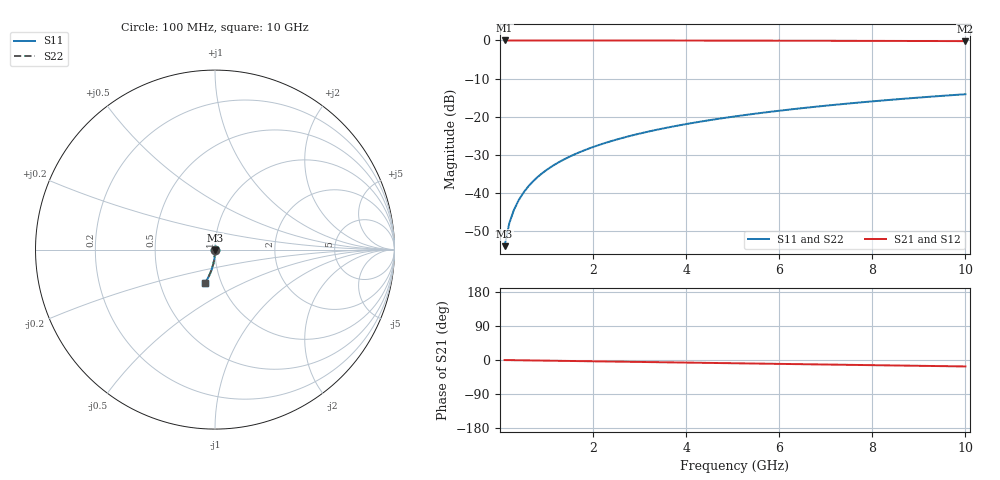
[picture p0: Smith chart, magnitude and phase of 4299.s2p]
# Hz S RI R 50.00
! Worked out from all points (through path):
!   100 points, 100 MHz to 10 GHz, reference 50 ohm
!   highest |S21| = 0.00 dB at 100 MHz (marker M1); lowest = -0.2 dB at 10 GHz (marker M2)
!   group delay of S21, straight-line fit = 4.73 ps
!   lowest |S11| = -53.9 dB at 100 MHz (marker M3), VSWR 1.00, Z = 50 - j0.2 ohm
!   |S11| at or under -10 dB: start of sweep to end of sweep
!   |S22| runs from -53.9 to -14.1 dB; largest |S21 - S12| = 0
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1e8  0.000167 -0.002  0.9998 -0.00297  0.9998 -0.00297  0.000167 -0.002
2e8  0.000148 -0.00401  0.9998 -0.00594  0.9998 -0.00594  0.000148 -0.00401
3e8  0.000117 -0.00601  0.9998 -0.00891  0.9998 -0.00891  0.000117 -0.00601
4e8  7.39e-05 -0.00801  0.9997 -0.0119  0.9997 -0.0119  7.39e-05 -0.00801
5e8  1.85e-05 -0.01  0.9996 -0.0148  0.9996 -0.0148  1.85e-05 -0.01
6e8  -4.87e-05 -0.012  0.9996 -0.0178  0.9996 -0.0178  -4.87e-05 -0.012
7e8  -0.000128 -0.014  0.9995 -0.0208  0.9995 -0.0208  -0.000128 -0.014
8e8  -0.000219 -0.016  0.9994 -0.0237  0.9994 -0.0237  -0.000219 -0.016
9e8  -0.000322 -0.018  0.9993 -0.0267  0.9993 -0.0267  -0.000322 -0.018
1.1e9  -0.000564 -0.022  0.999 -0.0327  0.999 -0.0327  -0.000564 -0.022
1.4e9  -0.00102 -0.028  0.9985 -0.0416  0.9985 -0.0416  -0.00102 -0.028
1.8e9  -0.00179 -0.036  0.9977 -0.0534  0.9977 -0.0534  -0.00179 -0.036
2.1e9  -0.00249 -0.042  0.9969 -0.0623  0.9969 -0.0623  -0.00249 -0.042
2.5e9  -0.00359 -0.05  0.9957 -0.0741  0.9957 -0.0741  -0.00359 -0.05
2.9e9  -0.00489 -0.0579  0.9943 -0.0859  0.9943 -0.0859  -0.00489 -0.0579
3.4e9  -0.00677 -0.0678  0.9923 -0.1007  0.9923 -0.1007  -0.00677 -0.0678
4.2e9  -0.0104 -0.0834  0.9884 -0.1241  0.9884 -0.1241  -0.0104 -0.0834
5.1e9  -0.0153 -0.1008  0.983 -0.1503  0.983 -0.1503  -0.0153 -0.1008
5.9e9  -0.0205 -0.1161  0.9774 -0.1733  0.9774 -0.1733  -0.0205 -0.1161
6.7e9  -0.0264 -0.131  0.9711 -0.1961  0.9711 -0.1961  -0.0264 -0.131
8.4e9  -0.0412 -0.1616  0.955 -0.2435  0.955 -0.2435  -0.0412 -0.1616
1e10  -0.0577 -0.1887  0.9371 -0.2865  0.9371 -0.2865  -0.0577 -0.1887
